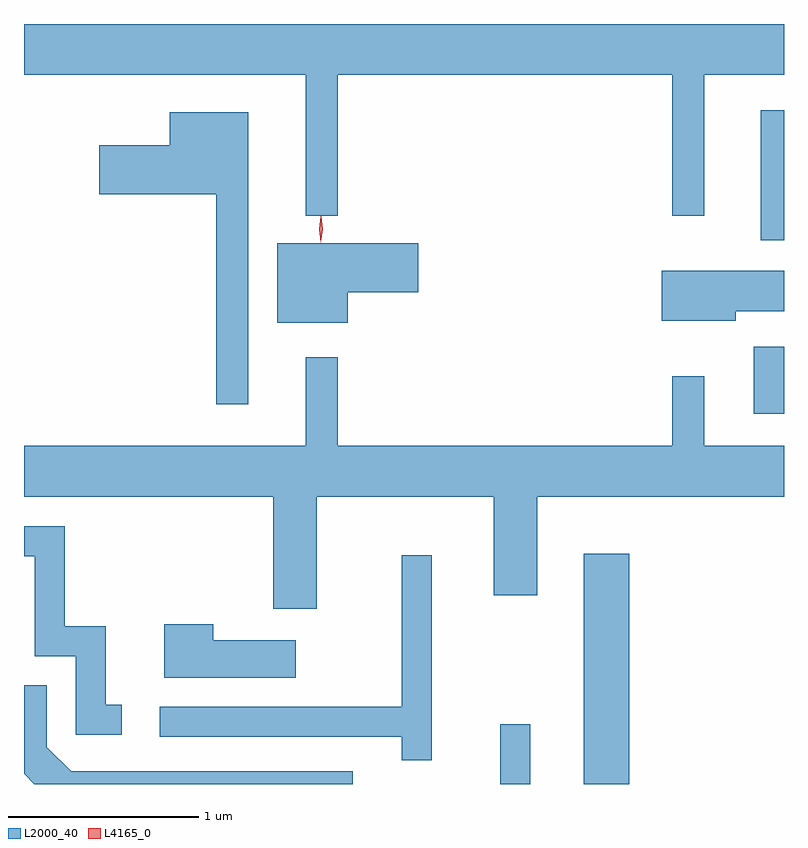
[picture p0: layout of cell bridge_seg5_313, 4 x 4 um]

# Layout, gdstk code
import gdstk
lib = gdstk.Library(unit=1e-6, precision=1e-09)
def R(c, l, rs):  # rectangles x0, y0, x1, y1
    for r in rs: c.add(gdstk.rectangle(r[:2], r[2:], *l))
def P(c, l, *ps):  # polygons
    for p in ps: c.add(gdstk.Polygon(p, *l))
L2000_40 = (2000, 40)
L4165_0 = (4165, 0)

bridge_seg5_313 = lib.new_cell('bridge_seg5_313')
R(bridge_seg5_313, L2000_40, [(701.366,1444.183,701.524,1444.498), (701.806,1444.183,702.044,1445.394), (702.701,1446.131,702.859,1446.484), (702.736,1447.046,702.859,1447.728)])
P(bridge_seg5_313, L2000_40, [(700.509,1447.916),(702.271,1447.916),(702.271,1447.173),(702.439,1447.173),(702.439,1447.916),(702.859,1447.916),(702.859,1448.183),(698.859,1448.183),(698.859,1447.916),(700.341,1447.916),(700.341,1447.173),(700.509,1447.173)],
  [(700.039,1447.719),(699.626,1447.719),(699.626,1447.544),(699.256,1447.544),(699.256,1447.286),(699.871,1447.286),(699.871,1446.183),(700.039,1446.183)],
  [(700.564,1446.771),(700.934,1446.771),(700.934,1447.029),(700.191,1447.029),(700.191,1446.611),(700.564,1446.611)],
  [(702.604,1446.671),(702.859,1446.671),(702.859,1446.884),(702.216,1446.884),(702.216,1446.621),(702.604,1446.621)],
  [(700.399,1445.696),(701.331,1445.696),(701.331,1445.176),(701.559,1445.176),(701.559,1445.696),(702.859,1445.696),(702.859,1445.964),(702.439,1445.964),(702.439,1446.328),(702.271,1446.328),(702.271,1445.964),(700.509,1445.964),(700.509,1446.428),(700.341,1446.428),(700.341,1445.964),(698.859,1445.964),(698.859,1445.696),(700.171,1445.696),(700.171,1445.106),(700.399,1445.106)],
  [(699.373,1444.599),(699.289,1444.599),(699.289,1445.014),(699.074,1445.014),(699.074,1445.539),(698.859,1445.539),(698.859,1445.381),(698.916,1445.381),(698.916,1444.856),(699.131,1444.856),(699.131,1444.441),(699.373,1444.441)],
  [(701.004,1445.388),(700.846,1445.388),(700.846,1444.589),(699.573,1444.589),(699.573,1444.431),(700.846,1444.431),(700.846,1444.308),(701.004,1444.308)],
  [(700.289,1444.939),(699.854,1444.939),(699.854,1445.024),(699.596,1445.024),(699.596,1444.741),(700.289,1444.741)],
  [(700.589,1444.249),(699.107,1444.249),(698.979,1444.377),(698.979,1444.704),(698.859,1444.704),(698.859,1444.236),(698.912,1444.183),(700.589,1444.183)])
P(bridge_seg5_313, L4165_0, [(700.421,1447.034),(700.421,1447.034),(700.412,1447.102),(700.422,1447.17),(700.423,1447.17),(700.423,1447.17),(700.432,1447.102),(700.422,1447.034)],
  [(700.421,1447.04),(700.42,1447.041),(700.412,1447.104),(700.422,1447.166),(700.423,1447.167),(700.423,1447.166),(700.432,1447.103),(700.422,1447.041)])

lib.write_gds('bridge_seg5_313.gds')
